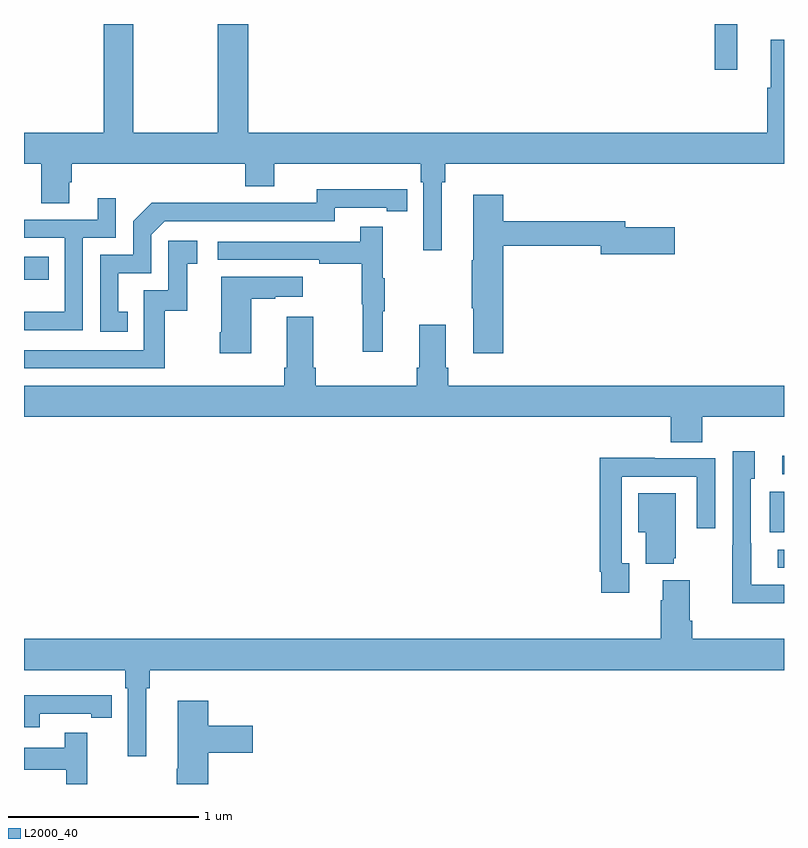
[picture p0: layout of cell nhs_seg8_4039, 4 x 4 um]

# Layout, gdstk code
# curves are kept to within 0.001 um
import gdstk
lib = gdstk.Library(unit=1e-6, precision=1e-09)
def R(c, l, rs):  # rectangles x0, y0, x1, y1
    for r in rs: c.add(gdstk.rectangle(r[:2], r[2:], *l))
def P(c, l, *ps):  # polygons
    for p in ps: c.add(gdstk.Polygon(p, *l))
L2000_40 = (2000, 40)

nhs_seg8_4039 = lib.new_cell('nhs_seg8_4039')
R(nhs_seg8_4039, L2000_40, [(362.967,1117.038,363,1117.134), (362.924,1117.226,363,1117.438), (362.991,1117.53,363,1117.628), (359,1118.553,359.129,1118.676), (362.635,1119.66,362.753,1119.9)])
P(nhs_seg8_4039, L2000_40, [(360.019,1119.328),(359.574,1119.328),(359.574,1119.9),(359.419,1119.9),(359.419,1119.328),(359,1119.328),(359,1119.164),(359.092,1119.164),(359.092,1118.956),(359.239,1118.956),(359.239,1119.066),(359.252,1119.066),(359.252,1119.164),(360.164,1119.164),(360.164,1119.047),(360.316,1119.047),(360.316,1119.164),(361.088,1119.164),(361.088,1119.068),(361.101,1119.068),(361.101,1118.709),(361.198,1118.709),(361.198,1119.068),(361.217,1119.068),(361.217,1119.164),(363,1119.164),(363,1119.817),(362.93,1119.817),(362.93,1119.564),(362.911,1119.564),(362.911,1119.328),(360.179,1119.328),(360.179,1119.9),(360.019,1119.9)],
  [(359.546,1118.385),(359.497,1118.385),(359.497,1118.589),(359.67,1118.589),(359.67,1118.79),(359.742,1118.862),(360.636,1118.862),(360.636,1118.934),(360.908,1118.934),(360.908,1118.914),(361.016,1118.914),(361.016,1119.03),(360.54,1119.031),(360.54,1118.958),(360.08,1118.958),(360.08,1118.96),(359.672,1118.96),(359.574,1118.862),(359.574,1118.685),(359.4,1118.685),(359.4,1118.28),(359.546,1118.28)],
  [(361.523,1118.734),(362.036,1118.734),(362.036,1118.687),(362.425,1118.687),(362.425,1118.829),(362.164,1118.829),(362.164,1118.863),(361.523,1118.863),(361.523,1119.001),(361.364,1119.001),(361.364,1118.657),(361.357,1118.657),(361.357,1118.404),(361.364,1118.404),(361.364,1118.166),(361.523,1118.166)],
  [(359.31,1118.775),(359.484,1118.775),(359.484,1118.983),(359.387,1118.983),(359.387,1118.871),(359,1118.871),(359,1118.775),(359.214,1118.775),(359.214,1118.386),(359,1118.386),(359,1118.289),(359.31,1118.289)],
  [(360.887,1118.387),(360.898,1118.387),(360.898,1118.561),(360.887,1118.561),(360.887,1118.833),(360.769,1118.833),(360.769,1118.754),(360.021,1118.754),(360.021,1118.658),(360.553,1118.658),(360.553,1118.638),(360.777,1118.638),(360.777,1118.424),(360.784,1118.424),(360.784,1118.175),(360.887,1118.175)],
  [(359.74,1118.391),(359.858,1118.391),(359.858,1118.637),(359.911,1118.637),(359.911,1118.758),(359.76,1118.758),(359.76,1118.499),(359.631,1118.499),(359.631,1118.184),(359,1118.184),(359,1118.088),(359.74,1118.088)],
  [(360.196,1118.455),(360.323,1118.455),(360.323,1118.465),(360.466,1118.465),(360.466,1118.569),(360.038,1118.569),(360.038,1118.278),(360.031,1118.278),(360.031,1118.166),(360.196,1118.166)],
  [(362.405,1117.699),(362.57,1117.699),(362.57,1117.832),(363,1117.832),(363,1117.996),(361.232,1117.996),(361.232,1118.092),(361.219,1118.092),(361.219,1118.317),(361.079,1118.317),(361.079,1118.092),(361.067,1118.092),(361.067,1117.996),(360.536,1117.996),(360.536,1118.092),(360.523,1118.092),(360.523,1118.359),(360.383,1118.359),(360.383,1118.092),(360.371,1118.092),(360.371,1117.996),(359,1117.996),(359,1117.832),(362.405,1117.832)],
  [(363,1116.948),(362.827,1116.948),(362.827,1117.166),(362.826,1117.166),(362.826,1117.506),(362.845,1117.506),(362.845,1117.651),(362.73,1117.651),(362.73,1117.157),(362.728,1117.157),(362.728,1116.851),(363,1116.851)],
  [(362.185,1117.062),(362.145,1117.062),(362.145,1117.518),(362.541,1117.518),(362.541,1117.245),(362.637,1117.245),(362.637,1117.614),(362.321,1117.614),(362.321,1117.616),(362.029,1117.616),(362.029,1117.018),(362.037,1117.018),(362.037,1116.906),(362.185,1116.906)],
  [(362.42,1117.089),(362.431,1117.089),(362.431,1117.429),(362.234,1117.429),(362.234,1117.226),(362.273,1117.226),(362.273,1117.058),(362.42,1117.058)],
  [(359,1116.5),(359.534,1116.5),(359.534,1116.404),(359.547,1116.404),(359.547,1116.045),(359.644,1116.045),(359.644,1116.404),(359.663,1116.404),(359.663,1116.5),(363,1116.5),(363,1116.664),(362.516,1116.664),(362.516,1116.76),(362.503,1116.76),(362.503,1116.973),(362.363,1116.973),(362.363,1116.866),(362.351,1116.866),(362.351,1116.664),(359,1116.664)],
  [(359.082,1116.27),(359.354,1116.27),(359.354,1116.25),(359.462,1116.25),(359.462,1116.366),(359.354,1116.366),(359.354,1116.367),(359,1116.367),(359,1116.198),(359.082,1116.198)],
  [(359.969,1116.065),(360.205,1116.065),(360.205,1116.207),(359.969,1116.207),(359.969,1116.337),(359.81,1116.337),(359.81,1115.981),(359.803,1115.981),(359.803,1115.9),(359.969,1115.9)],
  [(359.333,1116.169),(359.215,1116.169),(359.215,1116.09),(359,1116.09),(359,1115.974),(359.223,1115.974),(359.223,1115.9),(359.333,1115.9)])

lib.write_gds('nhs_seg8_4039.gds')
